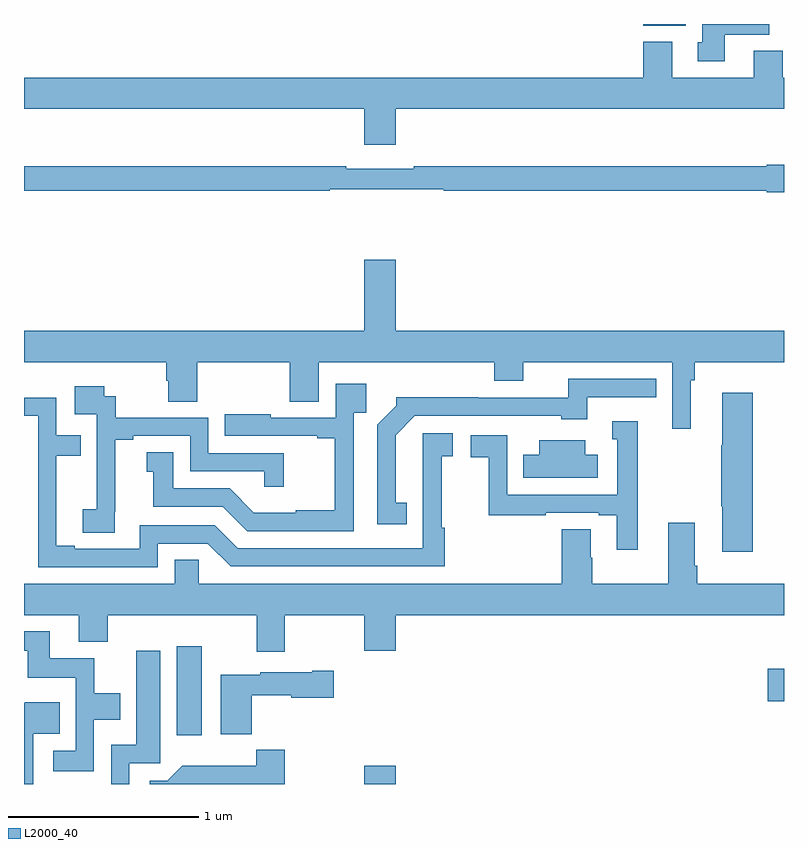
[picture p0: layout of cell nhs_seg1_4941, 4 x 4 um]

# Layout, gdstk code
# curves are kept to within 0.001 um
import gdstk
lib = gdstk.Library(unit=1e-6, precision=1e-09)
def R(c, l, rs):  # rectangles x0, y0, x1, y1
    for r in rs: c.add(gdstk.rectangle(r[:2], r[2:], *l))
def P(c, l, *ps):  # polygons
    for p in ps: c.add(gdstk.Polygon(p, *l))
L2000_40 = (2000, 40)

nhs_seg1_4941 = lib.new_cell('nhs_seg1_4941')
R(nhs_seg1_4941, L2000_40, [(380.792,528.199,380.956,528.295), (379.805,528.456,379.936,528.925), (382.914,528.635,383,528.805), (382.26,532.19,382.483,532.199)])
P(nhs_seg1_4941, L2000_40, [(382.687,532.142),(382.923,532.142),(382.923,532.199),(382.571,532.199),(382.571,532.104),(382.547,532.104),(382.547,532.002),(382.687,532.002)],
  [(380.956,531.752),(383,531.752),(383,531.916),(382.994,531.916),(382.994,532.057),(382.841,532.057),(382.841,531.916),(382.411,531.916),(382.411,532.105),(382.259,532.105),(382.259,531.916),(379,531.916),(379,531.752),(380.792,531.752),(380.792,531.564),(380.956,531.564)],
  [(383,531.459),(382.908,531.459),(382.908,531.451),(381.052,531.451),(381.052,531.438),(380.696,531.438),(380.696,531.451),(379,531.451),(379,531.322),(380.608,531.322),(380.608,531.33),(381.208,531.33),(381.208,531.322),(382.908,531.322),(382.908,531.314),(383,531.314)],
  [(382.51,530.324),(382.529,530.324),(382.529,530.42),(383,530.42),(383,530.584),(380.956,530.584),(380.956,530.959),(380.792,530.959),(380.792,530.584),(379,530.584),(379,530.42),(379.748,530.42),(379.748,530.322),(379.76,530.322),(379.76,530.212),(379.913,530.212),(379.913,530.42),(380.399,530.42),(380.399,530.212),(380.551,530.212),(380.551,530.42),(381.476,530.42),(381.476,530.321),(381.628,530.321),(381.628,530.42),(382.413,530.42),(382.413,530.07),(382.51,530.07)],
  [(381.014,529.679),(380.956,529.679),(380.956,530.035),(381.057,530.136),(381.828,530.136),(381.828,530.12),(381.964,530.12),(381.964,530.235),(382.328,530.235),(382.328,530.331),(381.865,530.331),(381.865,530.232),(381.392,530.232),(381.392,530.234),(380.958,530.234),(380.958,530.189),(380.859,530.09),(380.859,529.566),(381.014,529.566)],
  [(380.736,530.153),(380.801,530.153),(380.801,530.305),(380.64,530.305),(380.64,530.127),(380.299,530.127),(380.299,530.146),(380.056,530.146),(380.056,530.031),(380.543,530.031),(380.543,530.019),(380.635,530.019),(380.635,529.639),(380.429,529.639),(380.429,529.627),(380.21,529.627),(380.082,529.755),(379.786,529.755),(379.786,529.946),(379.646,529.946),(379.646,529.843),(379.679,529.843),(379.679,529.659),(380.046,529.659),(380.175,529.53),(380.736,529.53)],
  [(379.478,529.633),(379.48,529.633),(379.48,530.011),(379.576,530.011),(379.576,530.031),(379.875,530.031),(379.875,529.845),(380.265,529.845),(380.265,529.764),(380.366,529.764),(380.366,529.941),(379.971,529.941),(379.971,530.127),(379.484,530.127),(379.484,530.241),(379.422,530.241),(379.422,530.293),(379.266,530.293),(379.266,530.145),(379.383,530.145),(379.383,529.841),(379.382,529.841),(379.382,529.644),(379.308,529.644),(379.308,529.522),(379.478,529.522)],
  [(382.835,530.257),(382.676,530.257),(382.676,529.982),(382.669,529.982),(382.669,529.66),(382.676,529.66),(382.676,529.422),(382.835,529.422)],
  [(379.704,529.464),(379.968,529.464),(380.088,529.344),(381.215,529.344),(381.215,529.547),(381.198,529.547),(381.198,529.923),(381.256,529.923),(381.256,530.044),(381.098,530.044),(381.099,529.44),(380.124,529.44),(380.004,529.56),(379.608,529.56),(379.608,529.437),(379.267,529.437),(379.267,529.452),(379.171,529.452),(379.171,529.926),(379.298,529.926),(379.298,530.034),(379.17,530.034),(379.17,530.232),(379,530.232),(379,530.136),(379.074,530.136),(379.074,529.341),(379.704,529.341)],
  [(382.231,530.107),(382.097,530.107),(382.097,530.013),(382.122,530.013),(382.122,529.722),(381.543,529.722),(381.543,530.034),(381.351,530.034),(381.351,529.918),(381.445,529.918),(381.445,529.614),(381.746,529.614),(381.746,529.626),(382.025,529.626),(382.025,529.614),(382.121,529.614),(382.121,529.431),(382.231,529.431)],
  [(382.021,529.933),(381.955,529.933),(381.955,530.008),(381.713,530.008),(381.713,529.933),(381.628,529.933),(381.628,529.811),(382.021,529.811)],
  [(380.373,529.088),(380.792,529.088),(380.792,528.9),(380.956,528.9),(380.956,529.088),(383,529.088),(383,529.252),(382.544,529.252),(382.544,529.348),(382.531,529.348),(382.531,529.573),(382.391,529.573),(382.391,529.252),(381.99,529.252),(381.99,529.391),(381.982,529.391),(381.982,529.541),(381.83,529.541),(381.83,529.252),(379.92,529.252),(379.92,529.379),(379.793,529.379),(379.793,529.252),(379,529.252),(379,529.088),(379.289,529.088),(379.289,528.947),(379.442,528.947),(379.442,529.088),(380.225,529.088),(380.225,528.894),(380.373,528.894)],
  [(379.368,528.536),(379.507,528.536),(379.507,528.676),(379.371,528.676),(379.371,528.862),(379.135,528.862),(379.135,529.003),(379,529.003),(379,528.9),(379.019,528.9),(379.019,528.758),(379.272,528.758),(379.272,528.375),(379.155,528.375),(379.155,528.267),(379.368,528.267)],
  [(379.554,528.309),(379.717,528.309),(379.717,528.901),(379.592,528.901),(379.592,528.406),(379.458,528.406),(379.458,528.199),(379.554,528.199)],
  [(380.198,528.665),(380.406,528.665),(380.406,528.653),(380.629,528.653),(380.629,528.795),(380.516,528.795),(380.516,528.787),(380.244,528.787),(380.244,528.775),(380.036,528.775),(380.036,528.461),(380.198,528.461)],
  [(379.048,528.464),(379.187,528.464),(379.187,528.628),(379.004,528.628),(379,528.624),(379,528.199),(379.048,528.199)],
  [(380.373,528.379),(380.223,528.379),(380.223,528.295),(379.834,528.295),(379.755,528.216),(379.662,528.216),(379.662,528.199),(380.373,528.199)])

lib.write_gds('nhs_seg1_4941.gds')
